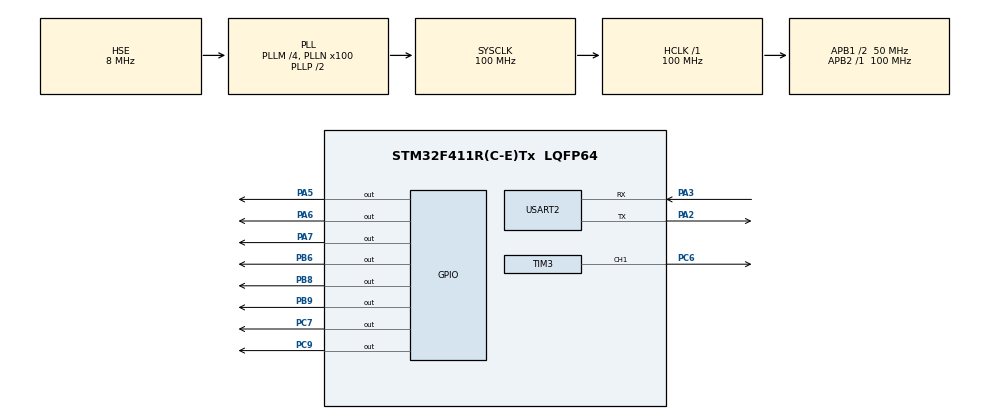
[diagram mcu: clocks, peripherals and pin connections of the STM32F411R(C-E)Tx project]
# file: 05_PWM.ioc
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Mcu.Family=STM32F4
Mcu.Name=STM32F411R(C-E)Tx
Mcu.Package=LQFP64
NVIC.PriorityGroup=NVIC_PRIORITYGROUP_4
NVIC.USART2_IRQn=true\:0\:0\:false\:false\:true\:true\:true\:true
PA13.Mode=Serial_Wire
PA13.Signal=SYS_JTMS-SWDIO
PA14.Mode=Serial_Wire
PA14.Signal=SYS_JTCK-SWCLK
PA2.Mode=Asynchronous
PA2.Signal=USART2_TX
PA3.Mode=Asynchronous
PA3.Signal=USART2_RX
PA5.Signal=GPIO_Output
PA6.Signal=GPIO_Output
PA7.Signal=GPIO_Output
PB6.Signal=GPIO_Output
PB8.Signal=GPIO_Output
PB9.Signal=GPIO_Output
PC6.Signal=S_TIM3_CH1
PC7.Signal=GPIO_Output
PC9.Signal=GPIO_Output
PH0\ -\ OSC_IN.Mode=HSE-External-Oscillator
PH0\ -\ OSC_IN.Signal=RCC_OSC_IN
PH1\ -\ OSC_OUT.Mode=HSE-External-Oscillator
PH1\ -\ OSC_OUT.Signal=RCC_OSC_OUT
ProjectManager.HeapSize=0x200
ProjectManager.StackSize=0x400
ProjectManager.TargetToolchain=STM32CubeIDE
RCC.48MHZClocksFreq_Value=50000000
RCC.AHBFreq_Value=100000000
RCC.APB1CLKDivider=RCC_HCLK_DIV2
RCC.APB1Freq_Value=50000000
RCC.APB1TimFreq_Value=100000000
RCC.APB2Freq_Value=100000000
RCC.APB2TimFreq_Value=100000000
RCC.CortexFreq_Value=100000000
RCC.HCLKFreq_Value=100000000
RCC.HSE_VALUE=8000000
RCC.HSI_VALUE=16000000
RCC.LSE_VALUE=32768
RCC.PLLM=4
RCC.PLLN=100
RCC.PLLSourceVirtual=RCC_PLLSOURCE_HSE
RCC.SYSCLKFreq_VALUE=100000000
RCC.SYSCLKSource=RCC_SYSCLKSOURCE_PLLCLK
RCC.VCOOutputFreq_Value=200000000
SH.S_TIM3_CH1.0=TIM3_CH1,PWM Generation1 CH1
TIM3.Channel-PWM\ Generation1\ CH1=TIM_CHANNEL_1
TIM3.Period=1000 - 1
TIM3.Prescaler=2000 - 1
USART2.VirtualMode=VM_ASYNC
VP_TIM3_VS_ClockSourceINT.Mode=Internal
board=custom

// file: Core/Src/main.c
/* USER CODE BEGIN Header */
/**
  ******************************************************************************
  * @file           : main.c
  * @brief          : Main program body
  ******************************************************************************
  * @attention
  *
  * Copyright (c) 2025 STMicroelectronics.
  * All rights reserved.
  *
  * This software is licensed under terms that can be found in the LICENSE file
  * in the root directory of this software component.
  * If no LICENSE file comes with this software, it is provided AS-IS.
  *
  ******************************************************************************
  */
/* USER CODE END Header */
#include "main.h"
#include "tim.h"
#include "usart.h"
#include "gpio.h"
#include "string.h"
/* USER CODE BEGIN Includes */

#include "led.h"

/* USER CODE END Includes */

/* USER CODE BEGIN PV */

  uint8_t Data;
  uint8_t Data_ONE[] = "-90 degree\n LED ON\n";
  uint8_t Data_TWO[] = "0 degree\n LED OFF\n";
  uint8_t Data_THREE[] = "+90 degree\n LED LEFTSHIFT\n";
  uint8_t mode = 5;

/* USER CODE END PV */

void SystemClock_Config(void);
/* USER CODE BEGIN PFP */

void HAL_UART_RxCpltCallback(UART_HandleTypeDef *huart)
{
  if(huart->Instance == USART2)
  {
    HAL_UART_Receive_IT(&huart2, &Data, sizeof(Data));

    if(Data == 'a')
    {
      HAL_UART_Transmit(&huart2, Data_ONE, sizeof(Data_ONE), 100);
      TIM3->CCR1 = 30;
      mode = 0;
    }

    if(Data == 'b')
    {
      HAL_UART_Transmit(&huart2, Data_TWO, sizeof(Data_TWO), 100);
      TIM3->CCR1 = 80;
      mode = 1;
    }

    if(Data == 'c')
    {
      HAL_UART_Transmit(&huart2, Data_THREE, sizeof(Data_THREE), 100);
      TIM3->CCR1 = 125;
      mode = 2;
    }
  }
}

/* USER CODE END PFP */

int main(void)
{

  /* MCU Configuration--------------------------------------------------------*/

  /* Reset of all peripherals, Initializes the Flash interface and the Systick. */
  HAL_Init();

  /* Configure the system clock */
  SystemClock_Config();

  /* Initialize all configured peripherals */
  MX_GPIO_Init();
  MX_TIM3_Init();
  MX_USART2_UART_Init();
  /* USER CODE BEGIN 2 */

  HAL_TIM_PWM_Start(&htim3, TIM_CHANNEL_1);

  HAL_UART_Receive_IT(&huart2, &Data, sizeof(Data));

  HAL_UART_Transmit_IT(&huart2, &Data, sizeof(Data));

  /* USER CODE END 2 */

  /* Infinite loop */
  /* USER CODE BEGIN WHILE */
  while (1)
  {
    if(mode == 0)
    {
      //TIM3->CCR1 = 30;
      ledOn(8);
      mode = 5;
    }

    if(mode == 1)
    {
      //TIM3->CCR1 = 80;
      ledOff(8);
      mode = 5;
    }

    if(mode == 2)
    {
      //TIM3->CCR1 = 125;
      ledLeftShift(8);
      mode = 5;
    }
//    TIM3->CCR1 = 30;
//    HAL_Delay(1000);
//
//    TIM3->CCR1 = 80;
//    HAL_Delay(1000);
//
//    TIM3->CCR1 = 125;
//    HAL_Delay(1000);
    /* USER CODE END WHILE */

  }
}

void SystemClock_Config(void)
{
  RCC_OscInitTypeDef RCC_OscInitStruct = {0};
  RCC_ClkInitTypeDef RCC_ClkInitStruct = {0};

  /** Configure the main internal regulator output voltage
  */
  __HAL_RCC_PWR_CLK_ENABLE();
  __HAL_PWR_VOLTAGESCALING_CONFIG(PWR_REGULATOR_VOLTAGE_SCALE1);

  /** Initializes the RCC Oscillators according to the specified parameters
  * in the RCC_OscInitTypeDef structure.
  */
  RCC_OscInitStruct.OscillatorType = RCC_OSCILLATORTYPE_HSE;
  RCC_OscInitStruct.HSEState = RCC_HSE_ON;
  RCC_OscInitStruct.PLL.PLLState = RCC_PLL_ON;
  RCC_OscInitStruct.PLL.PLLSource = RCC_PLLSOURCE_HSE;
  RCC_OscInitStruct.PLL.PLLM = 4;
  RCC_OscInitStruct.PLL.PLLN = 100;
  RCC_OscInitStruct.PLL.PLLP = RCC_PLLP_DIV2;
  RCC_OscInitStruct.PLL.PLLQ = 4;
  if (HAL_RCC_OscConfig(&RCC_OscInitStruct) != HAL_OK)
  {
    Error_Handler();
  }

  /** Initializes the CPU, AHB and APB buses clocks
  */
  RCC_ClkInitStruct.ClockType = RCC_CLOCKTYPE_HCLK|RCC_CLOCKTYPE_SYSCLK
                              |RCC_CLOCKTYPE_PCLK1|RCC_CLOCKTYPE_PCLK2;
  RCC_ClkInitStruct.SYSCLKSource = RCC_SYSCLKSOURCE_PLLCLK;
  RCC_ClkInitStruct.AHBCLKDivider = RCC_SYSCLK_DIV1;
  RCC_ClkInitStruct.APB1CLKDivider = RCC_HCLK_DIV2;
  RCC_ClkInitStruct.APB2CLKDivider = RCC_HCLK_DIV1;

  if (HAL_RCC_ClockConfig(&RCC_ClkInitStruct, FLASH_LATENCY_3) != HAL_OK)
  {
    Error_Handler();
  }
}

void Error_Handler(void)
{
  __disable_irq();
  while (1)
  {
  }
}
